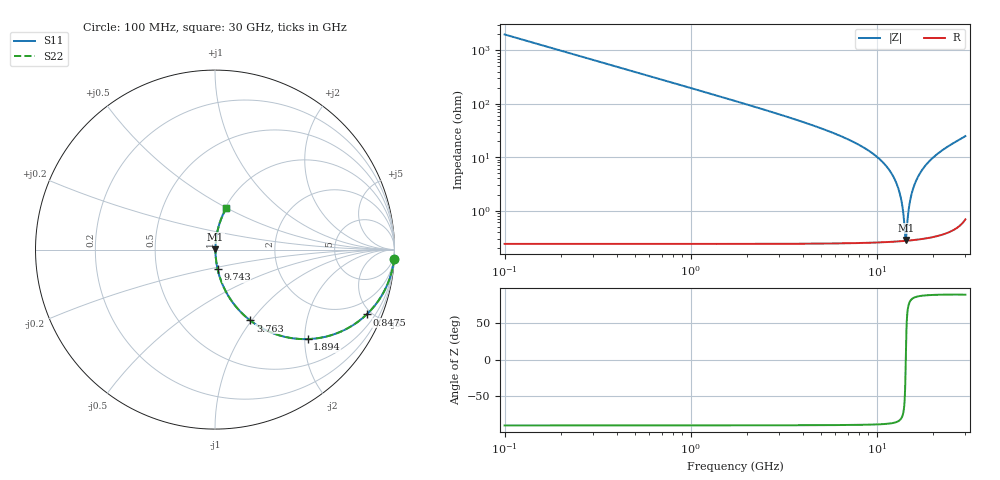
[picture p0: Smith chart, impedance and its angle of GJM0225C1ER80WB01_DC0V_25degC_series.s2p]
!Murata Part Number: GJM0225C1ER80WB01
!These Parameters are Measured in Series Mode Connection
!  o--ll--o
!Port1  Port2
!  o------o
!Operation Temp=25[degC], DC Bias Voltage=0[V]
!Freq. Start=100[MHz] Stop=30[GHz], 401[Steps]
!Data Generated on Feb 1, 2023
# Hz S RI R 50
!Freq.(Hz) S11(Real) S11(Imag) S21(Real) S21(Imag) S12(Real) S12(Imag) S22(Real) S22(Imag)
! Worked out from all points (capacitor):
!   401 points, 100 MHz to 30 GHz, reference 50 ohm
!   read as one part in series: C = 800 fF near 249.5 MHz
!   lowest |Z| = 280 mohm at 14.38 GHz (marker M1)
!   series resonance near 14.34 GHz, so ESL is about 150 pH
!   S11 on the Smith chart (normalised r, x): 100 MHz: 1, -40; 847.5 MHz: 1.00, -4.68; 1.894 GHz: 1.00, -2.06; 3.763 GHz: 1.00, -0.99; 9.743 GHz: 1.01, -0.22; 30 GHz: 1.01, +0.50
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1e8  0.9975 -0.0501  0.00253 0.0501  0.00253 0.0501  0.9975 -0.0501
3.99e8  0.9612 -0.1929  0.0388 0.1929  0.0388 0.1929  0.9612 -0.1929
8.475e8  0.8452 -0.3612  0.1548 0.3612  0.1548 0.3612  0.8452 -0.3612
1.894e9  0.5158 -0.4986  0.4842 0.4986  0.4842 0.4986  0.5158 -0.4986
2.791e9  0.3207 -0.465  0.6793 0.465  0.6793 0.465  0.3207 -0.465
3.76275e9  0.1965 -0.395  0.8035 0.395  0.8035 0.395  0.1965 -0.395
5.10825e9  0.1056 -0.3039  0.8944 0.3039  0.8944 0.3039  0.1056 -0.3039
9.74275e9  0.0145 -0.1087  0.9855 0.1087  0.9855 0.1087  0.0145 -0.1087
1.01165e10  0.0122 -0.098  0.9878 0.098  0.9878 0.098  0.0122 -0.098
1.183575e10  0.00548 -0.0537  0.9945 0.0537  0.9945 0.0537  0.00548 -0.0537
1.303175e10  0.00336 -0.0267  0.9966 0.0267  0.9966 0.0267  0.00336 -0.0267
1.37045e10  0.00284 -0.0127  0.9972 0.0127  0.9972 0.0127  0.00284 -0.0127
1.392875e10  0.00275 -0.00817  0.9972 0.00817  0.9972 0.00817  0.00275 -0.00817
1.422775e10  0.00271 -0.00224  0.9973 0.00224  0.9973 0.00224  0.00271 -0.00224
1.437725e10  0.00271 0.000681  0.9973 -0.000681  0.9973 -0.000681  0.00271 0.000681
1.4751e10  0.00279 0.00786  0.9972 -0.00786  0.9972 -0.00786  0.00279 0.00786
1.505e10  0.00293 0.0135  0.9971 -0.0135  0.9971 -0.0135  0.00293 0.0135
1.572275e10  0.00346 0.0258  0.9965 -0.0258  0.9965 -0.0258  0.00346 0.0258
1.676925e10  0.00482 0.044  0.9952 -0.044  0.9952 -0.044  0.00482 0.044
2.005825e10  0.0125 0.0961  0.9875 -0.0961  0.9875 -0.0961  0.0125 0.0961
2.50665e10  0.0325 0.1658  0.9675 -0.1658  0.9675 -0.1658  0.0325 0.1658
3e10  0.0638 0.231  0.9362 -0.231  0.9362 -0.231  0.0638 0.231
